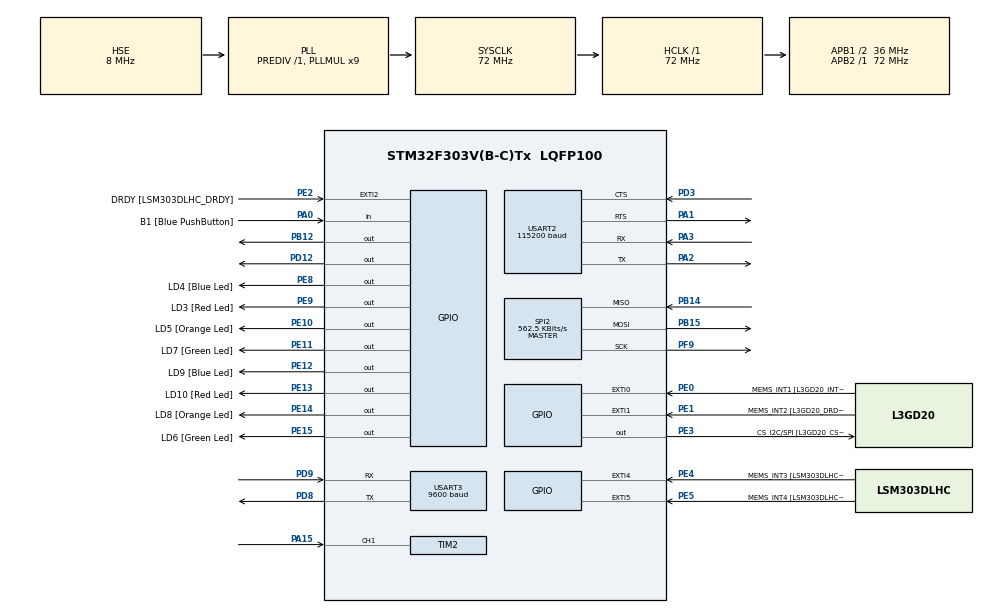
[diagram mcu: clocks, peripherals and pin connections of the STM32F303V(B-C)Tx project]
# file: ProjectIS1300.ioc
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CRC.CRCLength=CRC_POLYLENGTH_8B
CRC.DefaultInitValueUse=DEFAULT_INIT_VALUE_DISABLE
CRC.DefaultPolynomialUse=DEFAULT_POLYNOMIAL_DISABLE
CRC.GeneratingPolynomial=X5+X4+X0
CRC.InputDataFormat=CRC_INPUTDATA_FORMAT_WORDS
Mcu.Family=STM32F3
Mcu.Name=STM32F303V(B-C)Tx
Mcu.Package=LQFP100
NVIC.PriorityGroup=NVIC_PRIORITYGROUP_0
NVIC.TIM2_IRQn=true\:0\:0\:false\:false\:true\:true
PA0.GPIO_Label=B1 [Blue PushButton]
PA0.GPIO_Mode=GPIO_MODE_INPUT
PA0.GPIO_PuPd=GPIO_NOPULL
PA0.Signal=GPIO_Input
PA1.Mode=CTS_RTS
PA1.Signal=USART2_RTS
PA11.GPIO_Label=DM
PA11.Signal=USB_DM
PA12.GPIO_Label=DP
PA12.Signal=USB_DP
PA13.GPIO_Label=SWDIO
PA13.Signal=SYS_JTMS-SWDIO
PA14.GPIO_Label=SWCLK
PA14.Signal=SYS_JTCK-SWCLK
PA15.Signal=S_TIM2_CH1_ETR
PA2.Mode=Asynchronous
PA2.Signal=USART2_TX
PA3.Mode=Asynchronous
PA3.Signal=USART2_RX
PA5.GPIO_Label=SPI1_SCK [L3GD20_SCL/SPC]
PA5.GPIO_Mode=GPIO_MODE_AF_PP
PA5.GPIO_PuPd=GPIO_NOPULL
PA5.GPIO_Speed=GPIO_SPEED_FREQ_LOW
PA5.Signal=SPI1_SCK
PA6.GPIO_Label=SPI1_MISO [L3GD20_SA0/SDO]
PA6.GPIO_Mode=GPIO_MODE_AF_PP
PA6.GPIO_PuPd=GPIO_NOPULL
PA6.GPIO_Speed=GPIO_SPEED_FREQ_LOW
PA6.Signal=SPI1_MISO
PA7.GPIO_Label=SPI1_MISO [L3GD20_SDA/SDI/SDO]
PA7.GPIO_Mode=GPIO_MODE_AF_PP
PA7.GPIO_PuPd=GPIO_NOPULL
PA7.GPIO_Speed=GPIO_SPEED_FREQ_LOW
PA7.Signal=SPI1_MOSI
PB12.Signal=GPIO_Output
PB14.Mode=Full_Duplex_Master
PB14.Signal=SPI2_MISO
PB15.Mode=Full_Duplex_Master
PB15.Signal=SPI2_MOSI
PB3.GPIO_Label=SWO
PB3.Signal=SYS_JTDO-TRACESWO
PB6.GPIO_FM6=__NULL
PB6.GPIO_Label=I2C1_SCL [LSM303DLHC_SCL]
PB6.GPIO_Mode=GPIO_MODE_AF_OD
PB6.GPIO_PuPd=GPIO_NOPULL
PB6.GPIO_Speed=GPIO_SPEED_FREQ_LOW
PB6.Signal=I2C1_SCL
PB7.GPIO_FM7=__NULL
PB7.GPIO_Label=I2C1_SDA [LSM303DLHC_SDA]
PB7.GPIO_Mode=GPIO_MODE_AF_OD
PB7.GPIO_PuPd=GPIO_NOPULL
PB7.GPIO_Speed=GPIO_SPEED_FREQ_LOW
PB7.Signal=I2C1_SDA
PC14-OSC32_IN.GPIO_Label=OSC32_IN
PC14-OSC32_IN.Signal=RCC_OSC32_IN
PC15-OSC32_OUT.GPIO_Label=OSC32_OUT
PC15-OSC32_OUT.Signal=RCC_OSC32_OUT
PD12.Signal=GPIO_Output
PD3.Mode=CTS_RTS
PD3.Signal=USART2_CTS
PD8.Mode=Asynchronous
PD8.Signal=USART3_TX
PD9.Mode=Asynchronous
PD9.Signal=USART3_RX
PE0.GPIO_Label=MEMS_INT1 [L3GD20_INT1]
PE0.GPIO_ModeDefaultEXTI=GPIO_MODE_EVT_RISING
PE0.GPIO_PuPd=GPIO_NOPULL
PE0.Signal=GPXTI0
PE1.GPIO_Label=MEMS_INT2 [L3GD20_DRDY/INT2]
PE1.GPIO_ModeDefaultEXTI=GPIO_MODE_EVT_RISING
PE1.GPIO_PuPd=GPIO_NOPULL
PE1.Signal=GPXTI1
PE10.GPIO_Label=LD5 [Orange Led]
PE10.GPIO_ModeDefaultOutputPP=GPIO_MODE_OUTPUT_PP
PE10.GPIO_PuPd=GPIO_NOPULL
PE10.GPIO_Speed=GPIO_SPEED_FREQ_LOW
PE10.Signal=GPIO_Output
PE11.GPIO_Label=LD7 [Green Led]
PE11.GPIO_ModeDefaultOutputPP=GPIO_MODE_OUTPUT_PP
PE11.GPIO_PuPd=GPIO_NOPULL
PE11.GPIO_Speed=GPIO_SPEED_FREQ_LOW
PE11.Signal=GPIO_Output
PE12.GPIO_Label=LD9 [Blue Led]
PE12.GPIO_ModeDefaultOutputPP=GPIO_MODE_OUTPUT_PP
PE12.GPIO_PuPd=GPIO_NOPULL
PE12.GPIO_Speed=GPIO_SPEED_FREQ_LOW
PE12.Signal=GPIO_Output
PE13.GPIO_Label=LD10 [Red Led]
PE13.GPIO_ModeDefaultOutputPP=GPIO_MODE_OUTPUT_PP
PE13.GPIO_PuPd=GPIO_NOPULL
PE13.GPIO_Speed=GPIO_SPEED_FREQ_LOW
PE13.Signal=GPIO_Output
PE14.GPIO_Label=LD8 [Orange Led]
PE14.GPIO_ModeDefaultOutputPP=GPIO_MODE_OUTPUT_PP
PE14.GPIO_PuPd=GPIO_NOPULL
PE14.GPIO_Speed=GPIO_SPEED_FREQ_LOW
PE14.Signal=GPIO_Output
PE15.GPIO_Label=LD6 [Green Led]
PE15.GPIO_ModeDefaultOutputPP=GPIO_MODE_OUTPUT_PP
PE15.GPIO_PuPd=GPIO_NOPULL
PE15.GPIO_Speed=GPIO_SPEED_FREQ_LOW
PE15.Signal=GPIO_Output
PE2.GPIO_Label=DRDY [LSM303DLHC_DRDY]
PE2.GPIO_ModeDefaultEXTI=GPIO_MODE_EVT_RISING
PE2.GPIO_PuPd=GPIO_NOPULL
PE2.Signal=GPXTI2
PE3.GPIO_Label=CS_I2C/SPI [L3GD20_CS_I2C/SPI]
PE3.GPIO_ModeDefaultOutputPP=GPIO_MODE_OUTPUT_PP
PE3.GPIO_PuPd=GPIO_NOPULL
PE3.GPIO_Speed=GPIO_SPEED_FREQ_LOW
PE3.Signal=GPIO_Output
PE4.GPIO_Label=MEMS_INT3 [LSM303DLHC_INT1]
PE4.GPIO_ModeDefaultEXTI=GPIO_MODE_EVT_RISING
PE4.GPIO_PuPd=GPIO_NOPULL
PE4.Signal=GPXTI4
PE5.GPIO_Label=MEMS_INT4 [LSM303DLHC_INT2]
PE5.GPIO_ModeDefaultEXTI=GPIO_MODE_EVT_RISING
PE5.GPIO_PuPd=GPIO_NOPULL
PE5.Signal=GPXTI5
PE8.GPIO_Label=LD4 [Blue Led]
PE8.GPIO_ModeDefaultOutputPP=GPIO_MODE_OUTPUT_PP
PE8.GPIO_PuPd=GPIO_NOPULL
PE8.GPIO_Speed=GPIO_SPEED_FREQ_LOW
PE8.Signal=GPIO_Output
PE9.GPIO_Label=LD3 [Red Led]
PE9.GPIO_ModeDefaultOutputPP=GPIO_MODE_OUTPUT_PP
PE9.GPIO_PuPd=GPIO_NOPULL
PE9.GPIO_Speed=GPIO_SPEED_FREQ_LOW
PE9.Signal=GPIO_Output
PF0-OSC_IN.Mode=HSE-External-Oscillator
PF0-OSC_IN.Signal=RCC_OSC_IN
PF1-OSC_OUT.GPIO_Label=OSC_OUT
PF1-OSC_OUT.Mode=HSE-External-Oscillator
PF1-OSC_OUT.Signal=RCC_OSC_OUT
PF9.Mode=Full_Duplex_Master
PF9.Signal=SPI2_SCK
ProjectManager.HeapSize=0x200
ProjectManager.StackSize=0x400
ProjectManager.TargetToolchain=EWARM
RCC.AHBFreq_Value=72000000
RCC.APB1CLKDivider=RCC_HCLK_DIV2
RCC.APB1Freq_Value=36000000
RCC.APB1TimFreq_Value=72000000
RCC.APB2Freq_Value=72000000
RCC.APB2TimFreq_Value=72000000
RCC.CortexFreq_Value=72000000
RCC.HCLKFreq_Value=72000000
RCC.HSE_VALUE=8000000
RCC.HSI_VALUE=8000000
RCC.LSE_VALUE=32768
RCC.PLLMUL=RCC_PLL_MUL9
RCC.PLLSourceVirtual=RCC_PLLSOURCE_HSE
RCC.SYSCLKFreq_VALUE=72000000
RCC.SYSCLKSourceVirtual=RCC_SYSCLKSOURCE_PLLCLK
RCC.USBFreq_Value=72000000
RTC.AsynchPrediv=50-1
RTC.Date=31
RTC.Hours=23
RTC.Minutes=59
RTC.Month=RTC_MONTH_DECEMBER
RTC.Seconds=45
RTC.SynchPrediv=800-1
RTC.WeekDay=RTC_WEEKDAY_SUNDAY
SH.S_TIM2_CH1_ETR.0=TIM2_CH1,Input_Capture1_from_TI1
SH.S_TIM2_CH1_ETR.1=TIM2_CH1,TriggerSource_TI1FP1
SH.S_TIM2_CH1_ETR.2=TIM2_CH1,Input_Capture2_from_TI1
SPI2.BaudRatePrescaler=SPI_BAUDRATEPRESCALER_64
SPI2.CLKPhase=SPI_PHASE_2EDGE
SPI2.CalculateBaudRate=562.5 KBits/s
SPI2.DataSize=SPI_DATASIZE_8BIT
SPI2.Direction=SPI_DIRECTION_2LINES
SPI2.FirstBit=SPI_FIRSTBIT_LSB
SPI2.Mode=SPI_MODE_MASTER
SPI2.VirtualType=VM_MASTER
TIM2.Channel-Input_Capture1_from_TI1=TIM_CHANNEL_1
TIM2.Channel-Input_Capture2_from_TI1=TIM_CHANNEL_2
TIM2.ICPolarity_CH2=TIM_INPUTCHANNELPOLARITY_FALLING
TIM2.Period=0xFFFF
TIM2.Prescaler=71
USART2.BaudRate=115200
USART2.VirtualMode-Asynchronous=VM_ASYNC
USART3.BaudRate=9600
USART3.VirtualMode-Asynchronous=VM_ASYNC
VP_CRC_VS_CRC.Mode=CRC_Activate
VP_RTC_VS_RTC_Activate.Mode=RTC_Enabled
VP_RTC_VS_RTC_Calendar.Mode=RTC_Calendar
VP_TIM2_VS_ClockSourceINT.Mode=Internal
VP_TIM2_VS_ControllerModeReset.Mode=Reset Mode
board=STM32F3DISCOVERY

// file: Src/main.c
/**
  ******************************************************************************
  * File Name          : main.c
  * Description        : Main program body
  ******************************************************************************
  ** This notice applies to any and all portions of this file
  * that are not between comment pairs USER CODE BEGIN and
  * USER CODE END. Other portions of this file, whether
  * inserted by the user or by software development tools
  * are owned by their respective copyright owners.
  *
  * COPYRIGHT(c) 2018 STMicroelectronics
  *
  * Redistribution and use in source and binary forms, with or without modification,
  * are permitted provided that the following conditions are met:
  *   1. Redistributions of source code must retain the above copyright notice,
  *      this list of conditions and the following disclaimer.
  *   2. Redistributions in binary form must reproduce the above copyright notice,
  *      this list of conditions and the following disclaimer in the documentation
  *      and/or other materials provided with the distribution.
  *   3. Neither the name of STMicroelectronics nor the names of its contributors
  *      may be used to endorse or promote products derived from this software
  *      without specific prior written permission.
  *
  * THIS SOFTWARE IS PROVIDED BY THE COPYRIGHT HOLDERS AND CONTRIBUTORS "AS IS"
  * AND ANY EXPRESS OR IMPLIED WARRANTIES, INCLUDING, BUT NOT LIMITED TO, THE
  * IMPLIED WARRANTIES OF MERCHANTABILITY AND FITNESS FOR A PARTICULAR PURPOSE ARE
  * DISCLAIMED. IN NO EVENT SHALL THE COPYRIGHT HOLDER OR CONTRIBUTORS BE LIABLE
  * FOR ANY DIRECT, INDIRECT, INCIDENTAL, SPECIAL, EXEMPLARY, OR CONSEQUENTIAL
  * DAMAGES (INCLUDING, BUT NOT LIMITED TO, PROCUREMENT OF SUBSTITUTE GOODS OR
  * SERVICES; LOSS OF USE, DATA, OR PROFITS; OR BUSINESS INTERRUPTION) HOWEVER
  * CAUSED AND ON ANY THEORY OF LIABILITY, WHETHER IN CONTRACT, STRICT LIABILITY,
  * OR TORT (INCLUDING NEGLIGENCE OR OTHERWISE) ARISING IN ANY WAY OUT OF THE USE
  * OF THIS SOFTWARE, EVEN IF ADVISED OF THE POSSIBILITY OF SUCH DAMAGE.
  *
  ******************************************************************************
  */

#include "main.h"
#include "stm32f3xx_hal.h"
#include "crc.h"
#include "rtc.h"
#include "spi.h"
#include "tim.h"
#include "usart.h"
#include "gpio.h"

/* USER CODE BEGIN Includes */

#include "main.h"
#include "stm32f3xx_hal.h"
#include "crc.h"
#include "rtc.h"
#include "spi.h"
#include "tim.h"
#include "usart.h"
#include "gpio.h"
#include "display_functions.h"
#include "temp_functions.h"

/* USER CODE END Includes */

/* USER CODE BEGIN PV */
/* Private variables ---------------------------------------------------------*/
#define BUFFERSIZE 22

/* USER CODE END PV */

void SystemClock_Config(void);

/* USER CODE BEGIN PFP */
/* Private function prototypes -----------------------------------------------*/

/* USER CODE END PFP */

/* USER CODE BEGIN 0 */

/**
*@brief Captures information from a bitstream and processes the information bitwise
*@param *htim2 pointer to htim2
*@return void
*@author William Lewin
*@version 1.0
*@date 2018-02-22
*/

void HAL_TIM_IC_CaptureCallback(TIM_HandleTypeDef *htim2){
  //static uint16_t ticks1;
  static uint8_t bitcount;
  static uint16_t ticks2;
  if(htim2 ->Channel == HAL_TIM_ACTIVE_CHANNEL_2){
    ticks2 = HAL_TIM_ReadCapturedValue(htim2, TIM_CHANNEL_2); // Pulse length (us)

   if(333 < ticks2 && ticks2 < 433){
      addBit(1);
      bitcount++;
   }
    else if(1314 < ticks2 && ticks2 < 1414){
      addBit(0);
      bitcount++;
    }
    else{
      reset();
    }
   //HAL_StatusTypeDef HAL_SPI_Transmit(SPI_HandleTypeDef *hspi, uint8_t *pData, uint16_t Size, uint32_t Timeout);
  }

}

/* USER CODE END 0 */

int main(void)
{

  /* USER CODE BEGIN 1 */
  uint8_t Tecken;
  uint8_t Buffer[] = "Hello World interrupt!\n\r";

  /* USER CODE END 1 */

  /* MCU Configuration----------------------------------------------------------*/

  /* Reset of all peripherals, Initializes the Flash interface and the Systick. */
  HAL_Init();

  /* Configure the system clock */
  SystemClock_Config();

  /* Initialize all configured peripherals */
  MX_GPIO_Init();
  MX_USART3_UART_Init();
  MX_TIM2_Init();
  MX_CRC_Init();
  MX_USART2_UART_Init();
  MX_SPI2_Init();
  MX_RTC_Init();

  /* USER CODE BEGIN 2 */
  //HAL_UART_Transmit(&huart3,(uint8_t*)hello, strlen(hello), 5000);
  /* Start the transmission process */
  HAL_GPIO_TogglePin(GPIOE, GPIO_PIN_12);
  HAL_GPIO_TogglePin(GPIOE, GPIO_PIN_10);
  HAL_TIM_IC_Start_IT(&htim2,TIM_CHANNEL_1);

 if(HAL_TIM_IC_Start_IT(&htim2, TIM_CHANNEL_2)!=HAL_OK){Error_Handler();}

 HAL_GPIO_WritePin(GPIOD, GPIO_PIN_12, GPIO_PIN_SET);

  display_init();
  current_time();
  /* USER CODE END 2 */

  /* Infinite loop */
  /* USER CODE BEGIN WHILE */
  while (1)
  {

    print_time();
    print_temp();
    print_humidity();
  /* USER CODE END WHILE */

  }

}

/** System Clock Configuration
*/
void SystemClock_Config(void)
{

  RCC_OscInitTypeDef RCC_OscInitStruct;
  RCC_ClkInitTypeDef RCC_ClkInitStruct;
  RCC_PeriphCLKInitTypeDef PeriphClkInit;

    /**Initializes the CPU, AHB and APB busses clocks
    */
  RCC_OscInitStruct.OscillatorType = RCC_OSCILLATORTYPE_LSI|RCC_OSCILLATORTYPE_HSE;
  RCC_OscInitStruct.HSEState = RCC_HSE_ON;
  RCC_OscInitStruct.HSEPredivValue = RCC_HSE_PREDIV_DIV1;
  RCC_OscInitStruct.HSIState = RCC_HSI_ON;
  RCC_OscInitStruct.LSIState = RCC_LSI_ON;
  RCC_OscInitStruct.PLL.PLLState = RCC_PLL_ON;
  RCC_OscInitStruct.PLL.PLLSource = RCC_PLLSOURCE_HSE;
  RCC_OscInitStruct.PLL.PLLMUL = RCC_PLL_MUL9;
  if (HAL_RCC_OscConfig(&RCC_OscInitStruct) != HAL_OK)
  {
    _Error_Handler(__FILE__, __LINE__);
  }

    /**Initializes the CPU, AHB and APB busses clocks
    */
  RCC_ClkInitStruct.ClockType = RCC_CLOCKTYPE_HCLK|RCC_CLOCKTYPE_SYSCLK
                              |RCC_CLOCKTYPE_PCLK1|RCC_CLOCKTYPE_PCLK2;
  RCC_ClkInitStruct.SYSCLKSource = RCC_SYSCLKSOURCE_PLLCLK;
  RCC_ClkInitStruct.AHBCLKDivider = RCC_SYSCLK_DIV1;
  RCC_ClkInitStruct.APB1CLKDivider = RCC_HCLK_DIV2;
  RCC_ClkInitStruct.APB2CLKDivider = RCC_HCLK_DIV1;

  if (HAL_RCC_ClockConfig(&RCC_ClkInitStruct, FLASH_LATENCY_2) != HAL_OK)
  {
    _Error_Handler(__FILE__, __LINE__);
  }

  PeriphClkInit.PeriphClockSelection = RCC_PERIPHCLK_USART2|RCC_PERIPHCLK_USART3
                              |RCC_PERIPHCLK_RTC;
  PeriphClkInit.Usart2ClockSelection = RCC_USART2CLKSOURCE_PCLK1;
  PeriphClkInit.Usart3ClockSelection = RCC_USART3CLKSOURCE_PCLK1;
  PeriphClkInit.RTCClockSelection = RCC_RTCCLKSOURCE_LSI;
  if (HAL_RCCEx_PeriphCLKConfig(&PeriphClkInit) != HAL_OK)
  {
    _Error_Handler(__FILE__, __LINE__);
  }

    /**Configure the Systick interrupt time
    */
  HAL_SYSTICK_Config(HAL_RCC_GetHCLKFreq()/1000);

    /**Configure the Systick
    */
  HAL_SYSTICK_CLKSourceConfig(SYSTICK_CLKSOURCE_HCLK);

  /* SysTick_IRQn interrupt configuration */
  HAL_NVIC_SetPriority(SysTick_IRQn, 0, 0);
}

void _Error_Handler(char * file, int line)
{
  /* USER CODE BEGIN Error_Handler_Debug */
  /* User can add his own implementation to report the HAL error return state */
  while(1)
  {

    break;
  }
  /* USER CODE END Error_Handler_Debug */
}

/************************ (C) COPYRIGHT STMicroelectronics *****END OF FILE****/
